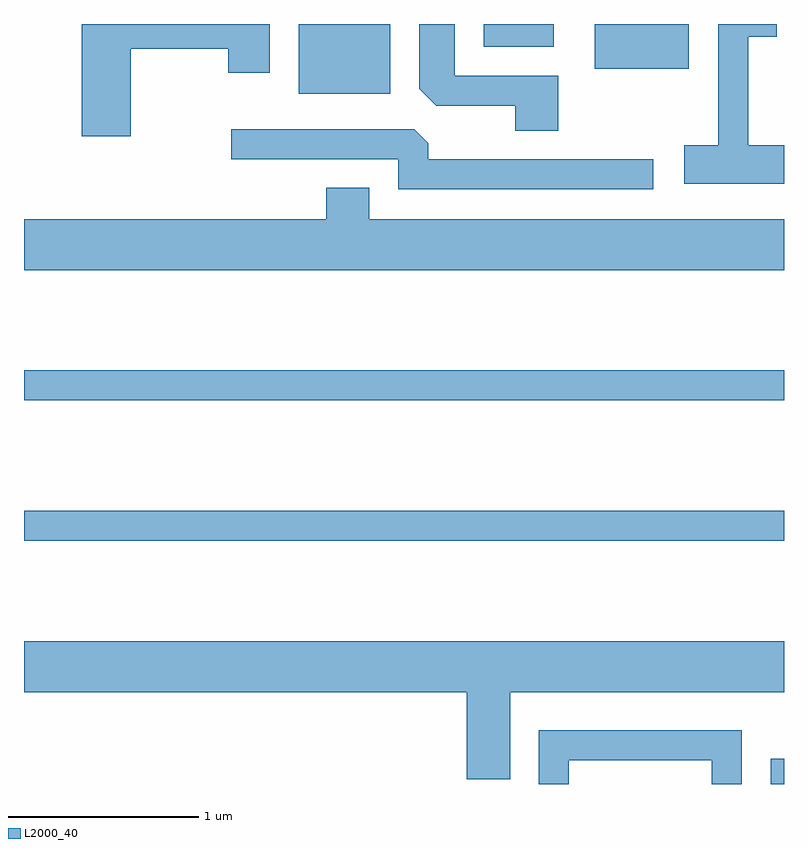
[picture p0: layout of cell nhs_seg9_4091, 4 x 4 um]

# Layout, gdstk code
import gdstk
lib = gdstk.Library(unit=1e-6, precision=1e-09)
def R(c, l, rs):  # rectangles x0, y0, x1, y1
    for r in rs: c.add(gdstk.rectangle(r[:2], r[2:], *l))
def P(c, l, *ps):  # polygons
    for p in ps: c.add(gdstk.Polygon(p, *l))
L2000_40 = (2000, 40)

nhs_seg9_4091 = lib.new_cell('nhs_seg9_4091')
R(nhs_seg9_4091, L2000_40, [(309.541,2002.432,309.611,2002.564), (305.611,2003.711,309.611,2003.869), (305.611,2004.451,309.611,2004.609), (307.056,2006.066,307.539,2006.432), (308.616,2006.196,309.109,2006.432), (308.031,2006.311,308.399,2006.432)])
P(nhs_seg9_4091, L2000_40, [(306.174,2006.301),(306.686,2006.301),(306.686,2006.176),(306.904,2006.176),(306.904,2006.432),(305.916,2006.432),(305.916,2005.841),(306.174,2005.841)],
  [(309.611,2005.794),(309.424,2005.794),(309.424,2006.366),(309.574,2006.366),(309.574,2006.432),(309.266,2006.432),(309.266,2005.794),(309.086,2005.794),(309.086,2005.591),(309.611,2005.591)],
  [(308.424,2006.159),(307.879,2006.159),(307.879,2006.432),(307.691,2006.432),(307.691,2006.092),(307.782,2006.001),(308.196,2006.001),(308.196,2005.871),(308.424,2005.871)],
  [(308.923,2005.719),(307.739,2005.719),(307.739,2005.804),(307.664,2005.879),(306.703,2005.879),(306.703,2005.721),(307.581,2005.721),(307.581,2005.561),(308.923,2005.561)],
  [(309.611,2005.404),(307.429,2005.404),(307.429,2005.569),(307.201,2005.569),(307.201,2005.404),(305.611,2005.404),(305.611,2005.136),(309.611,2005.136)],
  [(308.169,2002.916),(309.611,2002.916),(309.611,2003.184),(305.611,2003.184),(305.611,2002.916),(307.941,2002.916),(307.941,2002.456),(308.169,2002.456)],
  [(308.479,2002.556),(309.231,2002.556),(309.231,2002.432),(309.389,2002.432),(309.389,2002.714),(308.321,2002.714),(308.321,2002.432),(308.479,2002.432)])

lib.write_gds('nhs_seg9_4091.gds')
